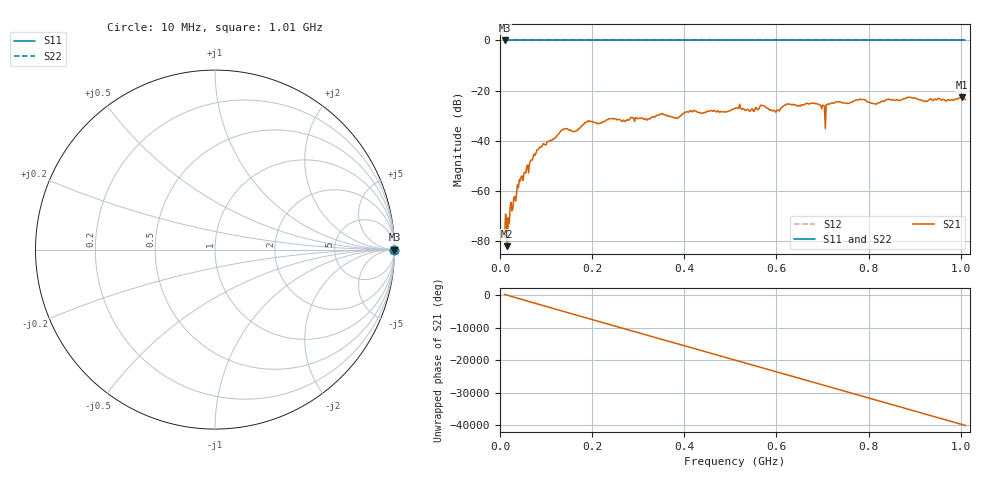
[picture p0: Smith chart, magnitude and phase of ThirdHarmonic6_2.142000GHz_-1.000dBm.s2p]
! 8/17/2025 1:35:19 AM
! C:\ANRITSUVNA\TEMP\TEMP.S2P
! CHANNEL.1
! TR.MEASUREMENT
! RAW.DATA
! RF.CORRECTION.OFF
! AVERAGING.OFF
! IF.BANDWIDTH: 5KHZ
! SWEEPTYPE:  FREQ.SWEEP(Linear)
! Reference Plane Port Info
! PORT:  PORT1  PORT2
! DISTANCE:  0  m  0  m
! TIME:  0  s  0  s
! PHASE.OFFSET:  0  deg.  0  deg.
! LOSS:  0  dB  0  dB
! REF.LOSS:  0  dB  0  dB
! REF.FREQ:  0  Hz  0  Hz
! Power Info
! POWER:  -20  dBm  -20  dBm
! EFF.POWER:  -20  dBm  -20  dBm
! SOURCE.ATTEN:  0  dB  0  dB
! TEST.ATTEN:  0  dB  0  dB
# GHZ S RI R 50.0
! FREQ.GHZ  S11RE  S11IM  S21RE  S21IM  S12RE  S12IM  S22RE  S22IM
!; PortSelection: Port_12
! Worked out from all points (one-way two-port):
!   501 points, 10 MHz to 1.01 GHz, reference 50 ohm
!   highest |S21| = -22.62 dB at 1.002 GHz (marker M1); lowest = -82.1 dB at 16 MHz (marker M2)
!   lowest |S11| = 0.0 dB at 10 MHz (marker M3)
!   |S11| at or under -10 dB: nowhere
!   |S22| runs from 0.0 to 0.0 dB; largest |S21 - S12| = 1.1
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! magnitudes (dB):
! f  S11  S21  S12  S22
! 10 MHz  0.0  -78.6  0.0  0.0
! 16 MHz  0.0  -82.1  0.0  0.0
! 42 MHz  0.0  -55.4  0.0  0.0
! 84 MHz  0.0  -43.2  0.0  0.0
! 136 MHz  0.0  -35.7  0.0  0.0
! 162 MHz  0.0  -36.3  0.0  0.0
! 178 MHz  0.0  -34.0  0.0  0.0
! 344 MHz  0.0  -29.8  0.0  0.0
! 382 MHz  0.0  -30.8  0.0  0.0
! 410 MHz  0.0  -28.6  0.0  0.0
! 510 MHz  0.0  -27.2  0.0  0.0
! 570 MHz  0.0  -26.0  0.0  0.0
! 602 MHz  0.0  -27.7  0.0  0.0
! 622 MHz  0.0  -25.4  0.0  0.0
! 678 MHz  0.0  -25.0  0.0  0.0
! 700 MHz  0.0  -25.9  0.0  0.0
! 702 MHz  0.0  -25.9  0.0  0.0
! 732 MHz  0.0  -24.5  0.0  0.0
! 814 MHz  0.0  -25.3  0.0  0.0
! 844 MHz  0.0  -23.5  0.0  0.0
! 1.002 GHz  0.0  -22.6  0.0  0.0
! 1.01 GHz  0.0  -23.5  0.0  0.0
